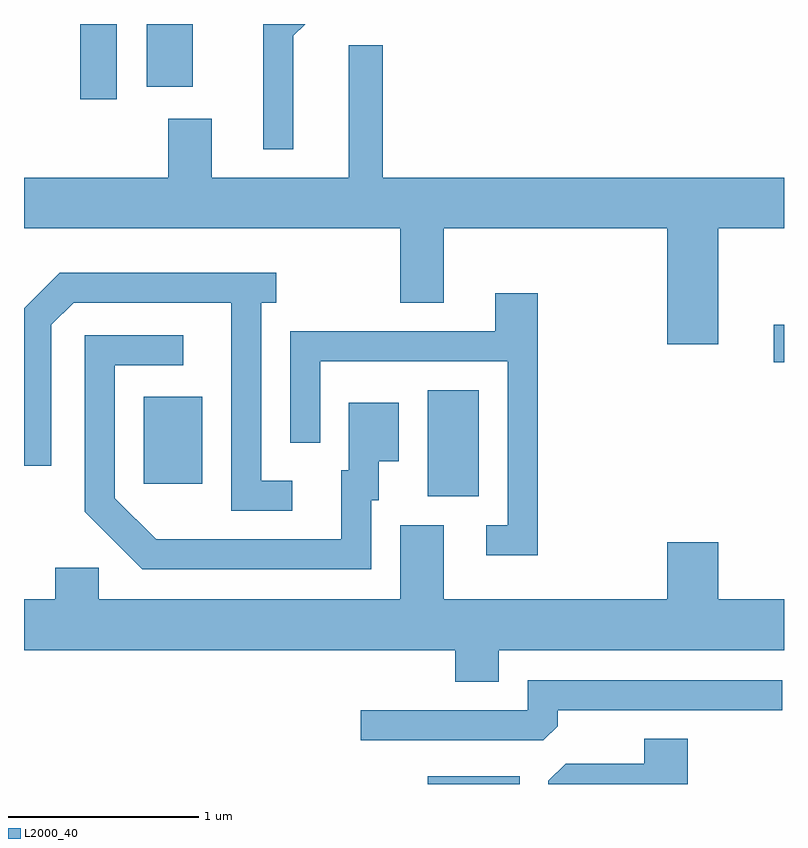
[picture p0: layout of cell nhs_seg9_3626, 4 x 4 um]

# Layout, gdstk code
import gdstk
lib = gdstk.Library(unit=1e-6, precision=1e-09)
def R(c, l, rs):  # rectangles x0, y0, x1, y1
    for r in rs: c.add(gdstk.rectangle(r[:2], r[2:], *l))
def P(c, l, *ps):  # polygons
    for p in ps: c.add(gdstk.Polygon(p, *l))
L2000_40 = (2000, 40)

nhs_seg9_3626 = lib.new_cell('nhs_seg9_3626')
R(nhs_seg9_3626, L2000_40, [(293.736,2004.432,294.219,2004.474), (293.736,2005.946,294.004,2006.504), (292.241,2006.011,292.549,2006.469), (295.556,2006.651,295.611,2006.849), (291.906,2008.036,292.099,2008.432), (292.256,2008.101,292.499,2008.432)])
P(nhs_seg9_3626, L2000_40, [(293.029,2008.369),(293.092,2008.432),(292.871,2008.432),(292.871,2007.773),(293.029,2007.773)],
  [(295.264,2007.356),(295.611,2007.356),(295.611,2007.624),(293.499,2007.624),(293.499,2008.319),(293.321,2008.319),(293.321,2007.624),(292.599,2007.624),(292.599,2007.934),(292.371,2007.934),(292.371,2007.624),(291.611,2007.624),(291.611,2007.356),(293.591,2007.356),(293.591,2006.966),(293.819,2006.966),(293.819,2007.356),(294.996,2007.356),(294.996,2006.746),(295.264,2006.746)],
  [(293.023,2006.029),(292.859,2006.029),(292.859,2006.966),(292.938,2006.966),(292.938,2007.124),(291.799,2007.124),(291.611,2006.937),(291.611,2006.108),(291.754,2006.108),(291.754,2006.849),(291.872,2006.966),(292.701,2006.966),(292.701,2005.871),(293.023,2005.871)],
  [(294.314,2007.014),(294.091,2007.014),(294.091,2006.814),(293.011,2006.814),(293.011,2006.228),(293.169,2006.228),(293.169,2006.656),(294.156,2006.656),(294.156,2005.794),(294.043,2005.794),(294.043,2005.636),(294.314,2005.636)],
  [(293.439,2005.926),(293.479,2005.926),(293.479,2006.131),(293.584,2006.131),(293.584,2006.439),(293.321,2006.439),(293.321,2006.084),(293.281,2006.084),(293.281,2005.719),(292.307,2005.719),(292.089,2005.937),(292.089,2006.636),(292.448,2006.636),(292.448,2006.794),(291.931,2006.794),(291.931,2005.864),(292.234,2005.561),(293.439,2005.561)],
  [(294.996,2005.704),(294.996,2005.404),(293.819,2005.404),(293.819,2005.794),(293.591,2005.794),(293.591,2005.404),(292.004,2005.404),(292.004,2005.569),(291.776,2005.569),(291.776,2005.404),(291.611,2005.404),(291.611,2005.136),(293.881,2005.136),(293.881,2004.971),(294.109,2004.971),(294.109,2005.136),(295.611,2005.136),(295.611,2005.404),(295.264,2005.404),(295.264,2005.704)],
  [(294.419,2004.737),(294.419,2004.821),(295.603,2004.821),(295.603,2004.979),(294.261,2004.979),(294.261,2004.819),(293.383,2004.819),(293.383,2004.661),(294.344,2004.661)],
  [(295.104,2004.669),(294.876,2004.669),(294.876,2004.539),(294.462,2004.539),(294.371,2004.449),(294.371,2004.432),(295.104,2004.432)])

lib.write_gds('nhs_seg9_3626.gds')
